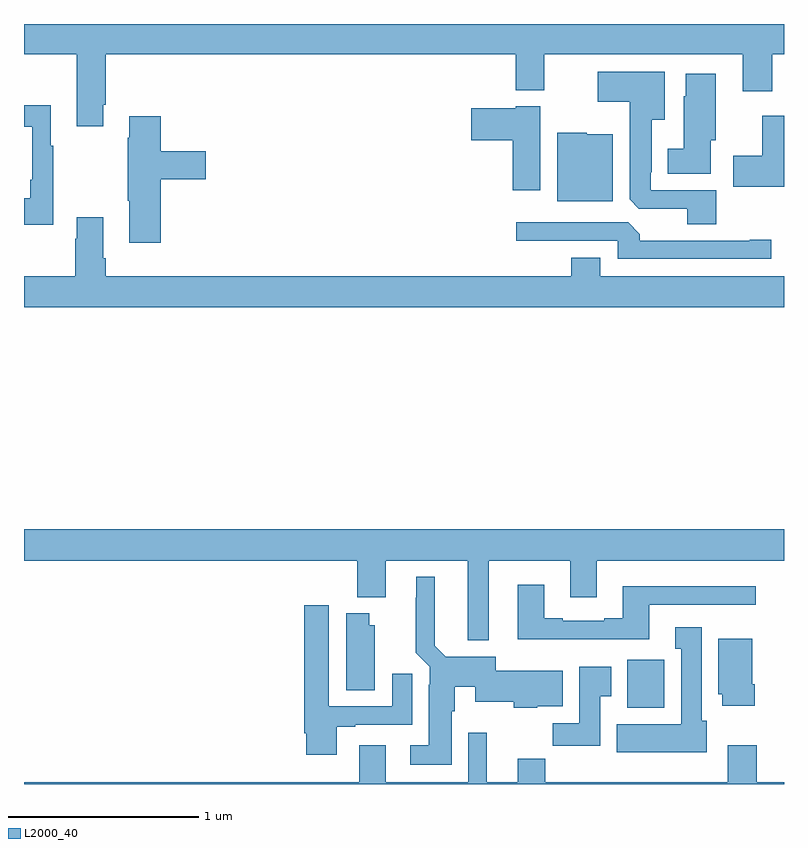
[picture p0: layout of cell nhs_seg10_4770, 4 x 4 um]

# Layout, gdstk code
import gdstk
lib = gdstk.Library(unit=1e-6, precision=1e-09)
def R(c, l, rs):  # rectangles x0, y0, x1, y1
    for r in rs: c.add(gdstk.rectangle(r[:2], r[2:], *l))
def P(c, l, *ps):  # polygons
    for p in ps: c.add(gdstk.Polygon(p, *l))
L2000_40 = (2000, 40)

nhs_seg10_4770 = lib.new_cell('nhs_seg10_4770')
R(nhs_seg10_4770, L2000_40, [(388.175,1272.902,388.371,1273.153)])
P(nhs_seg10_4770, L2000_40, [(385.417,1276.075),(385.43,1276.075),(385.43,1276.34),(387.587,1276.34),(387.587,1276.151),(387.739,1276.151),(387.739,1276.34),(388.784,1276.34),(388.784,1276.146),(388.937,1276.146),(388.937,1276.34),(389,1276.34),(389,1276.5),(385,1276.5),(385,1276.34),(385.277,1276.34),(385.277,1275.963),(385.417,1275.963)],
  [(388.643,1275.624),(388.299,1275.624),(388.299,1275.721),(388.303,1275.721),(388.303,1275.995),(388.372,1275.995),(388.372,1276.249),(388.02,1276.249),(388.02,1276.091),(388.187,1276.091),(388.187,1275.577),(388.236,1275.528),(388.49,1275.528),(388.49,1275.445),(388.643,1275.445)],
  [(388.615,1275.888),(388.642,1275.888),(388.642,1276.237),(388.484,1276.237),(388.484,1276.119),(388.472,1276.119),(388.472,1275.844),(388.388,1275.844),(388.388,1275.713),(388.615,1275.713)],
  [(385.153,1275.859),(385.141,1275.859),(385.141,1276.072),(385,1276.072),(385,1275.959),(385.044,1275.959),(385.044,1275.679),(385.032,1275.679),(385.032,1275.583),(385,1275.583),(385,1275.443),(385.153,1275.443)],
  [(387.718,1276.066),(387.588,1276.066),(387.588,1276.057),(387.354,1276.057),(387.354,1275.887),(387.572,1275.887),(387.572,1275.624),(387.718,1275.624)],
  [(389,1276.018),(388.886,1276.018),(388.886,1275.807),(388.734,1275.807),(388.734,1275.644),(389,1275.644)],
  [(385.721,1275.683),(385.957,1275.683),(385.957,1275.83),(385.721,1275.83),(385.721,1276.015),(385.553,1276.015),(385.553,1275.902),(385.546,1275.902),(385.546,1275.571),(385.553,1275.571),(385.553,1275.348),(385.721,1275.348)],
  [(388.099,1275.919),(387.963,1275.919),(387.963,1275.928),(387.806,1275.928),(387.806,1275.566),(388.099,1275.566)],
  [(389,1275.172),(388.033,1275.172),(388.033,1275.271),(387.881,1275.271),(387.881,1275.172),(385.43,1275.172),(385.43,1275.268),(385.417,1275.268),(385.417,1275.484),(385.277,1275.484),(385.277,1275.371),(385.27,1275.371),(385.27,1275.172),(385,1275.172),(385,1275.008),(389,1275.008)],
  [(388.933,1275.365),(388.82,1275.365),(388.82,1275.36),(388.241,1275.36),(388.241,1275.394),(388.179,1275.456),(387.591,1275.456),(387.591,1275.36),(388.125,1275.36),(388.125,1275.264),(388.933,1275.264)],
  [(387.445,1273.676),(387.875,1273.676),(387.875,1273.482),(388.015,1273.482),(388.015,1273.676),(389,1273.676),(389,1273.84),(385,1273.84),(385,1273.676),(386.753,1273.676),(386.753,1273.484),(386.905,1273.484),(386.905,1273.676),(387.335,1273.676),(387.335,1273.256),(387.445,1273.256)],
  [(387.25,1272.882),(387.268,1272.882),(387.268,1273.013),(387.374,1273.013),(387.374,1272.932),(387.577,1272.932),(387.577,1272.902),(387.702,1272.902),(387.702,1272.908),(387.835,1272.908),(387.835,1273.096),(387.484,1273.096),(387.484,1273.171),(387.219,1273.171),(387.163,1273.228),(387.163,1273.591),(387.065,1273.591),(387.065,1273.481),(387.061,1273.481),(387.061,1273.19),(387.135,1273.116),(387.135,1273.022),(387.131,1273.022),(387.131,1272.703),(387.033,1272.703),(387.033,1272.602),(387.25,1272.602)],
  [(388.291,1273.443),(388.852,1273.443),(388.852,1273.54),(388.151,1273.54),(388.151,1273.372),(388.055,1273.372),(388.055,1273.359),(387.835,1273.359),(387.835,1273.372),(387.739,1273.372),(387.739,1273.549),(387.599,1273.549),(387.599,1273.262),(388.291,1273.262)],
  [(386.647,1272.801),(386.743,1272.801),(386.743,1272.813),(387.043,1272.813),(387.043,1273.081),(386.939,1273.081),(386.939,1272.909),(386.605,1272.909),(386.605,1273.441),(386.474,1273.441),(386.474,1272.766),(386.486,1272.766),(386.486,1272.654),(386.647,1272.654)],
  [(386.845,1273.335),(386.818,1273.335),(386.818,1273.399),(386.696,1273.399),(386.696,1272.994),(386.845,1272.994)],
  [(388.594,1272.834),(388.567,1272.834),(388.567,1273.324),(388.427,1273.324),(388.427,1273.211),(388.46,1273.211),(388.46,1272.814),(388.121,1272.814),(388.121,1272.668),(388.594,1272.668)],
  [(388.847,1273.024),(388.834,1273.024),(388.834,1273.264),(388.655,1273.264),(388.655,1272.972),(388.676,1272.972),(388.676,1272.912),(388.847,1272.912)],
  [(388.033,1272.961),(388.09,1272.961),(388.09,1273.117),(387.923,1273.117),(387.923,1272.82),(387.784,1272.82),(387.784,1272.702),(388.033,1272.702)],
  [(389,1272.508),(388.856,1272.508),(388.856,1272.703),(388.703,1272.703),(388.703,1272.508),(387.743,1272.508),(387.743,1272.632),(387.599,1272.632),(387.599,1272.508),(387.436,1272.508),(387.436,1272.769),(387.339,1272.769),(387.339,1272.508),(386.905,1272.508),(386.905,1272.703),(386.765,1272.703),(386.765,1272.508),(385,1272.508),(385,1272.5),(389,1272.5)])

lib.write_gds('nhs_seg10_4770.gds')
